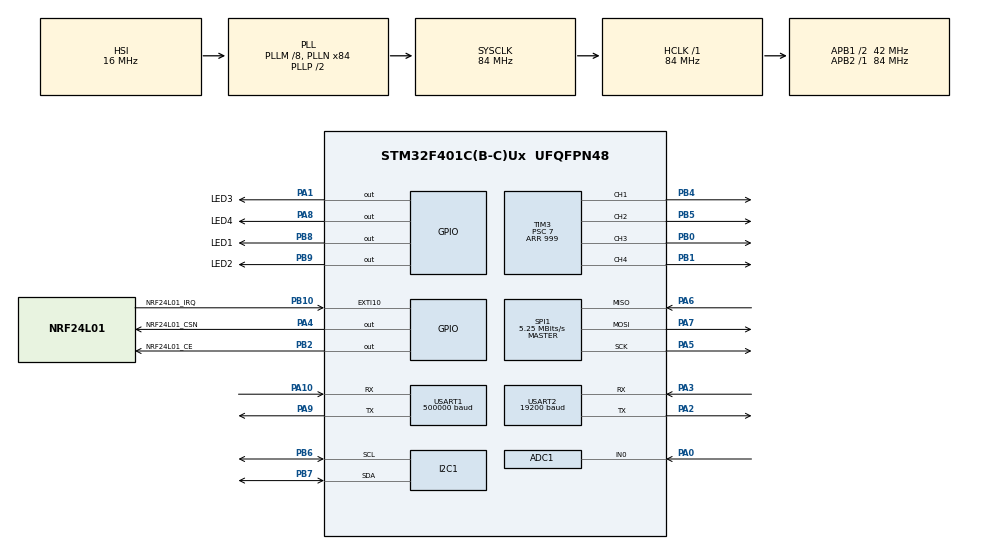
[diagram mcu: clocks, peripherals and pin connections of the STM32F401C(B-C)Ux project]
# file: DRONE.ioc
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ADC1.Channel-0\#ChannelRegularConversion=ADC_CHANNEL_0
ADC1.NbrOfConversionFlag=1
ADC1.Rank-0\#ChannelRegularConversion=1
ADC1.SamplingTime-0\#ChannelRegularConversion=ADC_SAMPLETIME_3CYCLES
ADC1.master=1
Dma.Request0=USART1_RX
Dma.Request1=USART2_RX
Dma.USART1_RX.0.Direction=DMA_PERIPH_TO_MEMORY
Dma.USART1_RX.0.FIFOMode=DMA_FIFOMODE_DISABLE
Dma.USART1_RX.0.Instance=DMA2_Stream2
Dma.USART1_RX.0.MemDataAlignment=DMA_MDATAALIGN_BYTE
Dma.USART1_RX.0.MemInc=DMA_MINC_ENABLE
Dma.USART1_RX.0.Mode=DMA_NORMAL
Dma.USART1_RX.0.PeriphDataAlignment=DMA_PDATAALIGN_BYTE
Dma.USART1_RX.0.PeriphInc=DMA_PINC_DISABLE
Dma.USART1_RX.0.Priority=DMA_PRIORITY_LOW
Dma.USART2_RX.1.Direction=DMA_PERIPH_TO_MEMORY
Dma.USART2_RX.1.FIFOMode=DMA_FIFOMODE_DISABLE
Dma.USART2_RX.1.Instance=DMA1_Stream5
Dma.USART2_RX.1.MemDataAlignment=DMA_MDATAALIGN_BYTE
Dma.USART2_RX.1.MemInc=DMA_MINC_ENABLE
Dma.USART2_RX.1.Mode=DMA_NORMAL
Dma.USART2_RX.1.PeriphDataAlignment=DMA_PDATAALIGN_BYTE
Dma.USART2_RX.1.PeriphInc=DMA_PINC_DISABLE
Dma.USART2_RX.1.Priority=DMA_PRIORITY_LOW
I2C1.I2C_Mode=I2C_Fast
Mcu.Family=STM32F4
Mcu.Name=STM32F401C(B-C)Ux
Mcu.Package=UFQFPN48
NVIC.ADC_IRQn=true\:0\:0\:false\:false\:true\:true\:true\:true
NVIC.DMA1_Stream5_IRQn=true\:0\:0\:false\:false\:true\:false\:true\:true
NVIC.DMA2_Stream2_IRQn=true\:0\:0\:false\:false\:true\:false\:true\:true
NVIC.EXTI15_10_IRQn=true\:0\:0\:false\:false\:true\:true\:true\:true
NVIC.PriorityGroup=NVIC_PRIORITYGROUP_4
NVIC.TIM1_UP_TIM10_IRQn=true\:0\:0\:false\:false\:true\:true\:true\:true
NVIC.USART1_IRQn=true\:0\:0\:false\:false\:true\:true\:true\:true
NVIC.USART2_IRQn=true\:0\:0\:false\:false\:true\:true\:true\:true
PA0-WKUP.Signal=ADCx_IN0
PA1.GPIO_Label=LED3
PA1.Signal=GPIO_Output
PA10.Mode=Asynchronous
PA10.Signal=USART1_RX
PA13.Mode=Serial_Wire
PA13.Signal=SYS_JTMS-SWDIO
PA14.Mode=Serial_Wire
PA14.Signal=SYS_JTCK-SWCLK
PA2.Mode=Asynchronous
PA2.Signal=USART2_TX
PA3.Mode=Asynchronous
PA3.Signal=USART2_RX
PA4.GPIO_Label=NRF24L01_CSN
PA4.GPIO_ModeDefaultOutputPP=GPIO_MODE_OUTPUT_PP
PA4.GPIO_PuPd=GPIO_NOPULL
PA4.GPIO_Speed=GPIO_SPEED_FREQ_HIGH
PA4.PinState=GPIO_PIN_SET
PA4.Signal=GPIO_Output
PA5.Mode=Full_Duplex_Master
PA5.Signal=SPI1_SCK
PA6.Mode=Full_Duplex_Master
PA6.Signal=SPI1_MISO
PA7.Mode=Full_Duplex_Master
PA7.Signal=SPI1_MOSI
PA8.GPIO_Label=LED4
PA8.Signal=GPIO_Output
PA9.Mode=Asynchronous
PA9.Signal=USART1_TX
PB0.Signal=S_TIM3_CH3
PB1.Signal=S_TIM3_CH4
PB10.GPIO_Label=NRF24L01_IRQ
PB10.GPIO_ModeDefaultEXTI=GPIO_MODE_IT_FALLING
PB10.GPIO_PuPd=GPIO_PULLUP
PB10.Signal=GPXTI10
PB2.GPIO_Label=NRF24L01_CE
PB2.PinState=GPIO_PIN_SET
PB2.Signal=GPIO_Output
PB4.Signal=S_TIM3_CH1
PB5.Signal=S_TIM3_CH2
PB6.GPIO_Pu=GPIO_PULLUP
PB6.Mode=I2C
PB6.Signal=I2C1_SCL
PB7.GPIO_Pu=GPIO_PULLUP
PB7.Mode=I2C
PB7.Signal=I2C1_SDA
PB8.GPIO_Label=LED1
PB8.Signal=GPIO_Output
PB9.GPIO_Label=LED2
PB9.Signal=GPIO_Output
PH0\ -\ OSC_IN.Mode=HSE-External-Oscillator
PH0\ -\ OSC_IN.Signal=RCC_OSC_IN
PH1\ -\ OSC_OUT.Mode=HSE-External-Oscillator
PH1\ -\ OSC_OUT.Signal=RCC_OSC_OUT
ProjectManager.HeapSize=0x200
ProjectManager.StackSize=0x400
ProjectManager.TargetToolchain=MDK-ARM V5.32
RCC.48MHZClocksFreq_Value=42000000
RCC.AHBFreq_Value=84000000
RCC.APB1CLKDivider=RCC_HCLK_DIV2
RCC.APB1Freq_Value=42000000
RCC.APB1TimFreq_Value=84000000
RCC.APB2Freq_Value=84000000
RCC.APB2TimFreq_Value=84000000
RCC.CortexFreq_Value=84000000
RCC.HCLKFreq_Value=84000000
RCC.HSE_VALUE=25000000
RCC.HSI_VALUE=16000000
RCC.LSE_VALUE=32768
RCC.PLLM=8
RCC.PLLN=84
RCC.SYSCLKFreq_VALUE=84000000
RCC.SYSCLKSource=RCC_SYSCLKSOURCE_PLLCLK
RCC.VCOOutputFreq_Value=168000000
SH.ADCx_IN0.0=ADC1_IN0,IN0
SH.S_TIM3_CH1.0=TIM3_CH1,PWM Generation1 CH1
SH.S_TIM3_CH2.0=TIM3_CH2,PWM Generation2 CH2
SH.S_TIM3_CH3.0=TIM3_CH3,PWM Generation3 CH3
SH.S_TIM3_CH4.0=TIM3_CH4,PWM Generation4 CH4
SPI1.BaudRatePrescaler=SPI_BAUDRATEPRESCALER_16
SPI1.CalculateBaudRate=5.25 MBits/s
SPI1.Direction=SPI_DIRECTION_2LINES
SPI1.Mode=SPI_MODE_MASTER
SPI1.VirtualType=VM_MASTER
TIM1.Period=60
TIM1.Prescaler=8399
TIM3.Channel-PWM\ Generation1\ CH1=TIM_CHANNEL_1
TIM3.Channel-PWM\ Generation2\ CH2=TIM_CHANNEL_2
TIM3.Channel-PWM\ Generation3\ CH3=TIM_CHANNEL_3
TIM3.Channel-PWM\ Generation4\ CH4=TIM_CHANNEL_4
TIM3.Period=999
TIM3.Prescaler=7
USART1.BaudRate=500000
USART1.VirtualMode=VM_ASYNC
USART2.BaudRate=19200
USART2.VirtualMode=VM_ASYNC
VP_TIM1_VS_ClockSourceINT.Mode=Internal
VP_TIM3_VS_ClockSourceINT.Mode=Internal
board=custom

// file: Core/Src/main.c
/* USER CODE BEGIN Header */
/**
  ******************************************************************************
  * @file           : main.c
  * @brief          : Main program body
  ******************************************************************************
  * @attention
  *
  * Copyright (c) 2026 STMicroelectronics.
  * All rights reserved.
  *
  * This software is licensed under terms that can be found in the LICENSE file
  * in the root directory of this software component.
  * If no LICENSE file comes with this software, it is provided AS-IS.
  *
  ******************************************************************************
  */
/* USER CODE END Header */
#include "main.h"

/* USER CODE BEGIN Includes */
#include <stdio.h>
#include <stdlib.h>
#include <string.h>
#include "uart.h"
#include "led.h"
#include "mpu6050.h"
#include "all_data.h"
#include "imu.h"
#include "ano_dt.h"
#include "control.h"
#include "remote.h"
#include "nrf24l01.h"
#include "spl06_001.h"
#include "flash.h"
#include "gl9306.h"
/* USER CODE END Includes */

ADC_HandleTypeDef hadc1;

I2C_HandleTypeDef hi2c1;

SPI_HandleTypeDef hspi1;

TIM_HandleTypeDef htim1;
TIM_HandleTypeDef htim3;

UART_HandleTypeDef huart1;
UART_HandleTypeDef huart2;
DMA_HandleTypeDef hdma_usart1_rx;
DMA_HandleTypeDef hdma_usart2_rx;

/* USER CODE BEGIN PV */

volatile uint8_t nrf2401_tx_flag = 1;
uint8_t nrf2401_txbuf[33] = {0xAA, 0xAA, 0x01, 0x06, 0x00, 0x1D, 0xFF, 0xCA, 0x09, 0x1E, 0x68};
uint8_t txbuf_pos = 0;
extern uint16_t nrf_cnt;

float temperature;
float presure;
uint32_t baro_height; // 海拔高度 mm
uint16_t voltage;     // 电池电压*100后取整

uint8_t SPL06_cnt = 0, SPL06_flag = 0;
uint8_t mpu_cnt = 0, mpu_flag = 0;
uint8_t volt_cnt = 0;

extern uint8_t RX_ADDRESS[RX_ADR_WIDTH];
extern _st_Mpu MPU6050;
extern uint8_t mpu_cal_flag; // MPU校准标志位，1表示需要校准，0表示校准完成

uint32_t low_power_tick = 0;

__IO uint8_t uart2_rxbuf[100];
uint8_t uart2_buf_pos=0;
uint8_t uart2_flag=0;
uint32_t uart2_tick_start=0;

uint8_t nrf_addr_init = 0;

/* USER CODE END PV */

void SystemClock_Config(void);
static void MX_GPIO_Init(void);
static void MX_DMA_Init(void);
static void MX_USART1_UART_Init(void);
static void MX_I2C1_Init(void);
static void MX_TIM1_Init(void);
static void MX_SPI1_Init(void);
static void MX_TIM3_Init(void);
static void MX_ADC1_Init(void);
static void MX_USART2_UART_Init(void);

/* USER CODE BEGIN 0 */

uint8_t uart1_rx_buff[128];
uint8_t uart1_rx_temp[128];
uint8_t uart1_rx_len = 0;
void HAL_UARTEx_RxEventCallback(UART_HandleTypeDef* huart, uint16_t Size)
{
  if (huart->Instance == USART1)
  {
    if (huart->RxEventType == HAL_UART_RXEVENT_IDLE)
    {
      if (Size > 0)
      {
        low_power_tick = HAL_GetTick();
        memcpy(uart1_rx_temp, uart1_rx_buff, Size);
        uart1_rx_len = Size;
        HAL_UARTEx_ReceiveToIdle_DMA(&huart1, (uint8_t*)uart1_rx_buff, sizeof(uart1_rx_buff));
      }
      else
      {
        HAL_UARTEx_ReceiveToIdle_DMA(&huart1, (uint8_t*)uart1_rx_buff, sizeof(uart1_rx_buff));
      }
    }
  }
  if (huart->Instance == USART2)
  {
    if (huart->RxEventType == HAL_UART_RXEVENT_IDLE)
    {
      if (Size > 0)
      {
        uart2_flag = 1;
        HAL_UART_Receive_DMA(&huart2, (uint8_t*)uart2_rxbuf, 9);
      }
      else
      {
        HAL_UART_Receive_DMA(&huart2, (uint8_t*)uart2_rxbuf, 9);
      }
    }
  }
}

void HAL_UART_ErrorCallback(UART_HandleTypeDef* huart)
{
  if (huart->Instance == USART1)
  {
    HAL_UARTEx_ReceiveToIdle_DMA(&huart1, (uint8_t*)uart1_rx_buff, sizeof(uart1_rx_buff));
  }
}

void HAL_TIM_PeriodElapsedCallback(TIM_HandleTypeDef *htim)
{
  if (htim == &htim1)
  {
    __HAL_TIM_CLEAR_IT(&htim1, TIM_IT_UPDATE | TIM_IT_CC1 | TIM_IT_CC2 | TIM_IT_CC3 | TIM_IT_CC4);

    MpuGetData();
    GetAngle(&MPU6050, &Angle, 0.006f);
    // OPTICAL2Read();
    FlightPidControl(0.006f);
    MotorControl();

    // mpu_cnt++;
    // if (mpu_cnt > 10)
    // {
    //   mpu_cnt = 0;
    //   mpu_flag = 1;
    // }

    nrf_cnt++;
    if (nrf_cnt > 500)
    {
      if (ALL_flag.unlock == 1)
      {
        ALL_flag.unlock = 0;
        LED.status = WARNING;
        LED.FlashTime = 500;
      }
      nrf_cnt = 0;
    }

    SPL06_cnt++;
    if (SPL06_cnt > 10)
    {
      SPL06_cnt = 0;
      temperature = user_SPL06_001_get_temperature();
      presure = user_SPL06_001_get_presure();
      baro_height = ((uint32_t)((102000.0f - presure) * 78.740f) + 5) / 10; // 每1mpar平均海拔高度为78.740mm 最后除以10是将mm转为cm
      SPL06_flag = 1;
    }

    volt_cnt++;
    if (volt_cnt >= 200)
    {
      HAL_ADC_Start_IT(&hadc1);
      volt_cnt = 0;
    }
  }
}

void HAL_GPIO_EXTI_Callback(uint16_t GPIO_Pin)
{
  uint8_t sta;
  if (GPIO_Pin == NRF24L01_IRQ_Pin)
  {
    nrf_cnt = 0;
    sta = NRF24L01_Read_Reg(STATUS);
    if (sta & RX_OK)
    {
      RC_Analy();
      NRF24L01_Write_Buf(W_ACK_PLOAD0, nrf2401_txbuf, txbuf_pos);
      nrf2401_tx_flag = 1;
    }
    low_power_tick = HAL_GetTick();
  }
}

void HAL_ADC_ConvCpltCallback(ADC_HandleTypeDef *hadc)
{
  uint16_t adv;
  adv = HAL_ADC_GetValue(&hadc1);
  voltage = adv * 430 / 4096; // 电池电压的100倍，除以100为真实电压

  // printf("Voltage: %.2f V\r\n", voltage / 100.0f);

  if (voltage < 315)          // 电池电压小于3.15V，锁定无人机，LED灯以状态WARNING定义的方式闪烁
  {
    ALL_flag.unlock = 0;
    LED.status = WARNING;
    LED.FlashTime = 500;
  }
}

void LowPowerMode(void)
{
  ALL_flag.unlock = 0;
  HAL_NVIC_DisableIRQ(NRF24L01_IRQ_EXTI_IRQn);
  HAL_TIM_Base_Stop_IT(&htim1);
  HAL_ADC_Stop_IT(&hadc1);
  HAL_TIM_PWM_Stop(&htim3, TIM_CHANNEL_1);
  HAL_TIM_PWM_Stop(&htim3, TIM_CHANNEL_2);
  HAL_TIM_PWM_Stop(&htim3, TIM_CHANNEL_3);
  HAL_TIM_PWM_Stop(&htim3, TIM_CHANNEL_4);
  IIC_Write_One_Byte(MPU6050_ADDRESS, PWR_MGMT_1, 0x40);
  User_Data_Save_All();
  printf("Entering Standby Mode...\r\n");
  HAL_PWR_EnterSTANDBYMode();
}

/* USER CODE END 0 */

int main(void)
{

  /* MCU Configuration--------------------------------------------------------*/

  /* Reset of all peripherals, Initializes the Flash interface and the Systick. */
  HAL_Init();

  /* Configure the system clock */
  SystemClock_Config();

  /* Initialize all configured peripherals */
  MX_GPIO_Init();
  MX_DMA_Init();
  MX_USART1_UART_Init();
  MX_I2C1_Init();
  MX_TIM1_Init();
  MX_SPI1_Init();
  MX_TIM3_Init();
  MX_ADC1_Init();
  MX_USART2_UART_Init();
  /* USER CODE BEGIN 2 */
  //HAL_Delay(2000);

  HAL_NVIC_DisableIRQ(NRF24L01_IRQ_EXTI_IRQn);
  HAL_GPIO_WritePin(NRF24L01_CE_GPIO_Port, NRF24L01_CE_Pin, GPIO_PIN_RESET); // 使能无线通信芯片NRF24L01
  __HAL_TIM_CLEAR_IT(&htim1, (TIM_IT_UPDATE|TIM_IT_CC1|TIM_IT_CC2|TIM_IT_CC3|TIM_IT_CC4));//清除TIM1的中断标志位
  HAL_TIM_PWM_Start(&htim3,TIM_CHANNEL_1); //启动TIM3的通道1(电机1，右前电机）的PWM输出(引脚PB4)
  HAL_TIM_PWM_Start(&htim3,TIM_CHANNEL_2); //启动TIM3的通道2(电机2，左前电机）的PWM输出(引脚PB5)
  HAL_TIM_PWM_Start(&htim3,TIM_CHANNEL_3); //启动TIM3的通道3(电机3，左后电机）的PWM输出(引脚PB0)
  HAL_TIM_PWM_Start(&htim3,TIM_CHANNEL_4); //启动TIM3的通道4(电机4，右后电机）的PWM输出(引脚PB1)

  HAL_Delay(100);

  while(NRF24L01_Check())// 如果检测不到24L01，则在此循环反复检测
  {
    HAL_Delay(250);
  }
  RX_Mode(); // 配置为接收模式
  HAL_NVIC_EnableIRQ(NRF24L01_IRQ_EXTI_IRQn); // 等NRL24L01初始化完后再开中断

  User_Data_Load_All(); // 读取Flash用户数据

  pid_param_Init();
  SPL06_001_init();
  MpuInit();

  HAL_ADC_Start_IT(&hadc1); //电池电压AD转换
  HAL_TIM_Base_Start_IT(&htim1);

  __HAL_DMA_DISABLE_IT(&hdma_usart1_rx, DMA_IT_HT);
  HAL_UARTEx_ReceiveToIdle_DMA(&huart1, (uint8_t*)uart1_rx_buff, sizeof(uart1_rx_buff));

  HAL_UART_Receive_DMA(&huart2, (uint8_t*)uart2_rxbuf, 9);
  __HAL_UART_ENABLE_IT(&huart2, UART_IT_IDLE);

  if (ALL_flag.paired == 0) // 如果未配对，则在此循环反复执行配对模式
  {
    LED.status = PAIRING;
    // PilotLED();
  }
  else
  {
    LED.status = AllFlashLight; // 配对成功后，设置LED状态为全闪烁
  }

	if (RX_ADDRESS[0] != 0xFF)
	{
		RX_Mode();
	}

  send_char_array(&huart1, RX_ADDRESS, RX_ADR_WIDTH); // 配对成功后，发送接收地址到上位机

  User_Data_Save_All(); // 配对成功后，保存用户数据到Flash

  low_power_tick = HAL_GetTick();
  ALL_flag.sleep_timeout_s = 60;

  /* USER CODE END 2 */

  /* Infinite loop */
  /* USER CODE BEGIN WHILE */
  while (1)
  {
    PilotLED();
    ANTO_polling();
    if (nrf_addr_init)
    {
      RX_Mode();
			LED.status = AllFlashLight;
      nrf_addr_init = 0;
    }
		 if (ALL_flag.paired == 0) // 如果未配对，则在此循环反复执行配对模式
		{
			LED.status = PAIRING;
		}
    if (mpu_cal_flag == 1)
    {
      HAL_NVIC_DisableIRQ(NRF24L01_IRQ_EXTI_IRQn);
      HAL_TIM_Base_Stop_IT(&htim1);
      MpuGetOffset();
      HAL_NVIC_EnableIRQ(NRF24L01_IRQ_EXTI_IRQn);
      HAL_TIM_Base_Start_IT(&htim1);
			printf("cal\n");
      mpu_cal_flag = 0;
    }
    if (mpu_flag == 1)
    {
      // printf("A:%d, %d, %d\r\n", MPU6050.accX, MPU6050.accY, MPU6050.accZ);
      // printf("G:%d, %d, %d\r\n", MPU6050.gyroX, MPU6050.gyroY, MPU6050.gyroZ);
      mpu_flag = 0;
    }
    if (SPL06_flag == 1)
    {
      SPL06_flag = 0;
      // printf("T:%3.2f P:%6.2f H:%6dcm\r\n", temperature, presure, baro_height);
    }
    if (uart1_rx_len > 0 && uart1_rx_len <= 32)
    {
      uart1_rx_len = 0;
    }
    if (uart2_flag)
    {
      uart2_flag = 0;
      // flow_decode();
      //send_char_array(&huart1,(uint8_t *)uart2_rxbuf,9);//uart2_buf_pos);
      uart2_buf_pos = 0;
    }
    if ((HAL_GetTick() - low_power_tick) > (ALL_flag.sleep_timeout_s * 1000))
    {
      LowPowerMode();
    }
    /* USER CODE END WHILE */

  }
}

void SystemClock_Config(void)
{
  RCC_OscInitTypeDef RCC_OscInitStruct = {0};
  RCC_ClkInitTypeDef RCC_ClkInitStruct = {0};

  /** Configure the main internal regulator output voltage
  */
  __HAL_RCC_PWR_CLK_ENABLE();
  __HAL_PWR_VOLTAGESCALING_CONFIG(PWR_REGULATOR_VOLTAGE_SCALE2);

  /** Initializes the RCC Oscillators according to the specified parameters
  * in the RCC_OscInitTypeDef structure.
  */
  RCC_OscInitStruct.OscillatorType = RCC_OSCILLATORTYPE_HSI;
  RCC_OscInitStruct.HSIState = RCC_HSI_ON;
  RCC_OscInitStruct.HSICalibrationValue = RCC_HSICALIBRATION_DEFAULT;
  RCC_OscInitStruct.PLL.PLLState = RCC_PLL_ON;
  RCC_OscInitStruct.PLL.PLLSource = RCC_PLLSOURCE_HSI;
  RCC_OscInitStruct.PLL.PLLM = 8;
  RCC_OscInitStruct.PLL.PLLN = 84;
  RCC_OscInitStruct.PLL.PLLP = RCC_PLLP_DIV2;
  RCC_OscInitStruct.PLL.PLLQ = 4;
  if (HAL_RCC_OscConfig(&RCC_OscInitStruct) != HAL_OK)
  {
    Error_Handler();
  }

  /** Initializes the CPU, AHB and APB buses clocks
  */
  RCC_ClkInitStruct.ClockType = RCC_CLOCKTYPE_HCLK|RCC_CLOCKTYPE_SYSCLK
                              |RCC_CLOCKTYPE_PCLK1|RCC_CLOCKTYPE_PCLK2;
  RCC_ClkInitStruct.SYSCLKSource = RCC_SYSCLKSOURCE_PLLCLK;
  RCC_ClkInitStruct.AHBCLKDivider = RCC_SYSCLK_DIV1;
  RCC_ClkInitStruct.APB1CLKDivider = RCC_HCLK_DIV2;
  RCC_ClkInitStruct.APB2CLKDivider = RCC_HCLK_DIV1;

  if (HAL_RCC_ClockConfig(&RCC_ClkInitStruct, FLASH_LATENCY_2) != HAL_OK)
  {
    Error_Handler();
  }
}

static void MX_ADC1_Init(void)
{

  ADC_ChannelConfTypeDef sConfig = {0};

  /** Configure the global features of the ADC (Clock, Resolution, Data Alignment and number of conversion)
  */
  hadc1.Instance = ADC1;
  hadc1.Init.ClockPrescaler = ADC_CLOCK_SYNC_PCLK_DIV4;
  hadc1.Init.Resolution = ADC_RESOLUTION_12B;
  hadc1.Init.ScanConvMode = DISABLE;
  hadc1.Init.ContinuousConvMode = DISABLE;
  hadc1.Init.DiscontinuousConvMode = DISABLE;
  hadc1.Init.ExternalTrigConvEdge = ADC_EXTERNALTRIGCONVEDGE_NONE;
  hadc1.Init.ExternalTrigConv = ADC_SOFTWARE_START;
  hadc1.Init.DataAlign = ADC_DATAALIGN_RIGHT;
  hadc1.Init.NbrOfConversion = 1;
  hadc1.Init.DMAContinuousRequests = DISABLE;
  hadc1.Init.EOCSelection = ADC_EOC_SINGLE_CONV;
  if (HAL_ADC_Init(&hadc1) != HAL_OK)
  {
    Error_Handler();
  }

  /** Configure for the selected ADC regular channel its corresponding rank in the sequencer and its sample time.
  */
  sConfig.Channel = ADC_CHANNEL_0;
  sConfig.Rank = 1;
  sConfig.SamplingTime = ADC_SAMPLETIME_3CYCLES;
  if (HAL_ADC_ConfigChannel(&hadc1, &sConfig) != HAL_OK)
  {
    Error_Handler();
  }

}

static void MX_I2C1_Init(void)
{

  hi2c1.Instance = I2C1;
  hi2c1.Init.ClockSpeed = 400000;
  hi2c1.Init.DutyCycle = I2C_DUTYCYCLE_2;
  hi2c1.Init.OwnAddress1 = 0;
  hi2c1.Init.AddressingMode = I2C_ADDRESSINGMODE_7BIT;
  hi2c1.Init.DualAddressMode = I2C_DUALADDRESS_DISABLE;
  hi2c1.Init.OwnAddress2 = 0;
  hi2c1.Init.GeneralCallMode = I2C_GENERALCALL_DISABLE;
  hi2c1.Init.NoStretchMode = I2C_NOSTRETCH_DISABLE;
  if (HAL_I2C_Init(&hi2c1) != HAL_OK)
  {
    Error_Handler();
  }

}

static void MX_SPI1_Init(void)
{

  /* SPI1 parameter configuration*/
  hspi1.Instance = SPI1;
  hspi1.Init.Mode = SPI_MODE_MASTER;
  hspi1.Init.Direction = SPI_DIRECTION_2LINES;
  hspi1.Init.DataSize = SPI_DATASIZE_8BIT;
  hspi1.Init.CLKPolarity = SPI_POLARITY_LOW;
  hspi1.Init.CLKPhase = SPI_PHASE_1EDGE;
  hspi1.Init.NSS = SPI_NSS_SOFT;
  hspi1.Init.BaudRatePrescaler = SPI_BAUDRATEPRESCALER_16;
  hspi1.Init.FirstBit = SPI_FIRSTBIT_MSB;
  hspi1.Init.TIMode = SPI_TIMODE_DISABLE;
  hspi1.Init.CRCCalculation = SPI_CRCCALCULATION_DISABLE;
  hspi1.Init.CRCPolynomial = 10;
  if (HAL_SPI_Init(&hspi1) != HAL_OK)
  {
    Error_Handler();
  }

}

static void MX_TIM1_Init(void)
{

  TIM_ClockConfigTypeDef sClockSourceConfig = {0};
  TIM_MasterConfigTypeDef sMasterConfig = {0};

  htim1.Instance = TIM1;
  htim1.Init.Prescaler = 8399;
  htim1.Init.CounterMode = TIM_COUNTERMODE_UP;
  htim1.Init.Period = 60;
  htim1.Init.ClockDivision = TIM_CLOCKDIVISION_DIV1;
  htim1.Init.RepetitionCounter = 0;
  htim1.Init.AutoReloadPreload = TIM_AUTORELOAD_PRELOAD_DISABLE;
  if (HAL_TIM_Base_Init(&htim1) != HAL_OK)
  {
    Error_Handler();
  }
  sClockSourceConfig.ClockSource = TIM_CLOCKSOURCE_INTERNAL;
  if (HAL_TIM_ConfigClockSource(&htim1, &sClockSourceConfig) != HAL_OK)
  {
    Error_Handler();
  }
  sMasterConfig.MasterOutputTrigger = TIM_TRGO_RESET;
  sMasterConfig.MasterSlaveMode = TIM_MASTERSLAVEMODE_DISABLE;
  if (HAL_TIMEx_MasterConfigSynchronization(&htim1, &sMasterConfig) != HAL_OK)
  {
    Error_Handler();
  }

}

static void MX_TIM3_Init(void)
{

  TIM_ClockConfigTypeDef sClockSourceConfig = {0};
  TIM_MasterConfigTypeDef sMasterConfig = {0};
  TIM_OC_InitTypeDef sConfigOC = {0};

  htim3.Instance = TIM3;
  htim3.Init.Prescaler = 7;
  htim3.Init.CounterMode = TIM_COUNTERMODE_UP;
  htim3.Init.Period = 999;
  htim3.Init.ClockDivision = TIM_CLOCKDIVISION_DIV1;
  htim3.Init.AutoReloadPreload = TIM_AUTORELOAD_PRELOAD_DISABLE;
  if (HAL_TIM_Base_Init(&htim3) != HAL_OK)
  {
    Error_Handler();
  }
  sClockSourceConfig.ClockSource = TIM_CLOCKSOURCE_INTERNAL;
  if (HAL_TIM_ConfigClockSource(&htim3, &sClockSourceConfig) != HAL_OK)
  {
    Error_Handler();
  }
  if (HAL_TIM_PWM_Init(&htim3) != HAL_OK)
  {
    Error_Handler();
  }
  sMasterConfig.MasterOutputTrigger = TIM_TRGO_RESET;
  sMasterConfig.MasterSlaveMode = TIM_MASTERSLAVEMODE_DISABLE;
  if (HAL_TIMEx_MasterConfigSynchronization(&htim3, &sMasterConfig) != HAL_OK)
  {
    Error_Handler();
  }
  sConfigOC.OCMode = TIM_OCMODE_PWM1;
  sConfigOC.Pulse = 0;
  sConfigOC.OCPolarity = TIM_OCPOLARITY_HIGH;
  sConfigOC.OCFastMode = TIM_OCFAST_DISABLE;
  if (HAL_TIM_PWM_ConfigChannel(&htim3, &sConfigOC, TIM_CHANNEL_1) != HAL_OK)
  {
    Error_Handler();
  }
  if (HAL_TIM_PWM_ConfigChannel(&htim3, &sConfigOC, TIM_CHANNEL_2) != HAL_OK)
  {
    Error_Handler();
  }
  if (HAL_TIM_PWM_ConfigChannel(&htim3, &sConfigOC, TIM_CHANNEL_3) != HAL_OK)
  {
    Error_Handler();
  }
  if (HAL_TIM_PWM_ConfigChannel(&htim3, &sConfigOC, TIM_CHANNEL_4) != HAL_OK)
  {
    Error_Handler();
  }
  HAL_TIM_MspPostInit(&htim3);

}

static void MX_USART1_UART_Init(void)
{

  huart1.Instance = USART1;
  huart1.Init.BaudRate = 500000;
  huart1.Init.WordLength = UART_WORDLENGTH_8B;
  huart1.Init.StopBits = UART_STOPBITS_1;
  huart1.Init.Parity = UART_PARITY_NONE;
  huart1.Init.Mode = UART_MODE_TX_RX;
  huart1.Init.HwFlowCtl = UART_HWCONTROL_NONE;
  huart1.Init.OverSampling = UART_OVERSAMPLING_16;
  if (HAL_UART_Init(&huart1) != HAL_OK)
  {
    Error_Handler();
  }

}

static void MX_USART2_UART_Init(void)
{

  huart2.Instance = USART2;
  huart2.Init.BaudRate = 19200;
  huart2.Init.WordLength = UART_WORDLENGTH_8B;
  huart2.Init.StopBits = UART_STOPBITS_1;
  huart2.Init.Parity = UART_PARITY_NONE;
  huart2.Init.Mode = UART_MODE_TX_RX;
  huart2.Init.HwFlowCtl = UART_HWCONTROL_NONE;
  huart2.Init.OverSampling = UART_OVERSAMPLING_16;
  if (HAL_UART_Init(&huart2) != HAL_OK)
  {
    Error_Handler();
  }

}

static void MX_DMA_Init(void)
{

  /* DMA controller clock enable */
  __HAL_RCC_DMA2_CLK_ENABLE();
  __HAL_RCC_DMA1_CLK_ENABLE();

  /* DMA interrupt init */
  /* DMA1_Stream5_IRQn interrupt configuration */
  HAL_NVIC_SetPriority(DMA1_Stream5_IRQn, 0, 0);
  HAL_NVIC_EnableIRQ(DMA1_Stream5_IRQn);
  /* DMA2_Stream2_IRQn interrupt configuration */
  HAL_NVIC_SetPriority(DMA2_Stream2_IRQn, 0, 0);
  HAL_NVIC_EnableIRQ(DMA2_Stream2_IRQn);

}

static void MX_GPIO_Init(void)
{
  GPIO_InitTypeDef GPIO_InitStruct = {0};

  /* GPIO Ports Clock Enable */
  __HAL_RCC_GPIOH_CLK_ENABLE();
  __HAL_RCC_GPIOA_CLK_ENABLE();
  __HAL_RCC_GPIOB_CLK_ENABLE();

  /*Configure GPIO pin Output Level */
  HAL_GPIO_WritePin(GPIOA, LED3_Pin|LED4_Pin, GPIO_PIN_RESET);

  /*Configure GPIO pin Output Level */
  HAL_GPIO_WritePin(NRF24L01_CSN_GPIO_Port, NRF24L01_CSN_Pin, GPIO_PIN_SET);

  /*Configure GPIO pin Output Level */
  HAL_GPIO_WritePin(NRF24L01_CE_GPIO_Port, NRF24L01_CE_Pin, GPIO_PIN_SET);

  /*Configure GPIO pin Output Level */
  HAL_GPIO_WritePin(GPIOB, LED1_Pin|LED2_Pin, GPIO_PIN_RESET);

  /*Configure GPIO pins : LED3_Pin LED4_Pin */
  GPIO_InitStruct.Pin = LED3_Pin|LED4_Pin;
  GPIO_InitStruct.Mode = GPIO_MODE_OUTPUT_PP;
  GPIO_InitStruct.Pull = GPIO_NOPULL;
  GPIO_InitStruct.Speed = GPIO_SPEED_FREQ_LOW;
  HAL_GPIO_Init(GPIOA, &GPIO_InitStruct);

  /*Configure GPIO pin : NRF24L01_CSN_Pin */
  GPIO_InitStruct.Pin = NRF24L01_CSN_Pin;
  GPIO_InitStruct.Mode = GPIO_MODE_OUTPUT_PP;
  GPIO_InitStruct.Pull = GPIO_NOPULL;
  GPIO_InitStruct.Speed = GPIO_SPEED_FREQ_HIGH;
  HAL_GPIO_Init(NRF24L01_CSN_GPIO_Port, &GPIO_InitStruct);

  /*Configure GPIO pins : NRF24L01_CE_Pin LED1_Pin LED2_Pin */
  GPIO_InitStruct.Pin = NRF24L01_CE_Pin|LED1_Pin|LED2_Pin;
  GPIO_InitStruct.Mode = GPIO_MODE_OUTPUT_PP;
  GPIO_InitStruct.Pull = GPIO_NOPULL;
  GPIO_InitStruct.Speed = GPIO_SPEED_FREQ_LOW;
  HAL_GPIO_Init(GPIOB, &GPIO_InitStruct);

  /*Configure GPIO pin : NRF24L01_IRQ_Pin */
  GPIO_InitStruct.Pin = NRF24L01_IRQ_Pin;
  GPIO_InitStruct.Mode = GPIO_MODE_IT_FALLING;
  GPIO_InitStruct.Pull = GPIO_PULLUP;
  HAL_GPIO_Init(NRF24L01_IRQ_GPIO_Port, &GPIO_InitStruct);

  /* EXTI interrupt init*/
  HAL_NVIC_SetPriority(EXTI15_10_IRQn, 0, 0);
  HAL_NVIC_EnableIRQ(EXTI15_10_IRQn);

}

void Error_Handler(void)
{
  __disable_irq();
  while (1)
  {
  }
}
